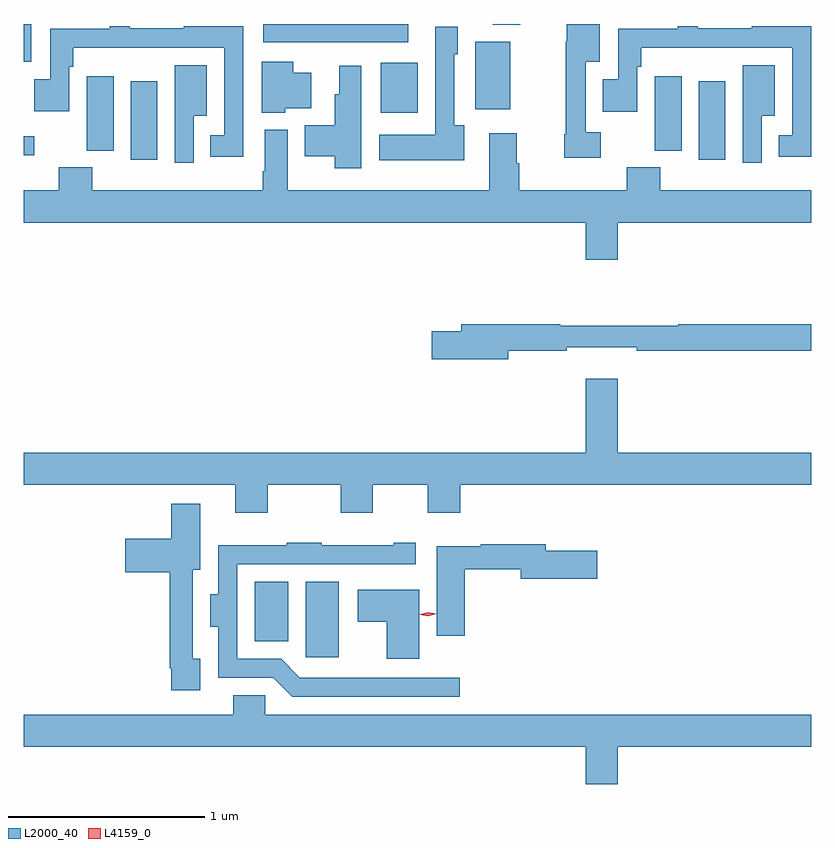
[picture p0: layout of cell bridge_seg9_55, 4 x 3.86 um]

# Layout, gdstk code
import gdstk
lib = gdstk.Library(unit=1e-6, precision=1e-09)
def R(c, l, rs):  # rectangles x0, y0, x1, y1
    for r in rs: c.add(gdstk.rectangle(r[:2], r[2:], *l))
def P(c, l, *ps):  # polygons
    for p in ps: c.add(gdstk.Polygon(p, *l))
L2000_40 = (2000, 40)
L4159_0 = (4159, 0)

bridge_seg9_55 = lib.new_cell('bridge_seg9_55')
R(bridge_seg9_55, L2000_40, [(1098.65,1206.201,1098.817,1206.583), (1098.392,1206.281,1098.562,1206.583), (1097.762,1208.727,1097.896,1209.127), (1100.648,1208.727,1100.782,1209.127), (1097.218,1208.75,1097.272,1208.847), (1097.537,1208.774,1097.674,1209.151), (1100.423,1208.774,1100.56,1209.151), (1099.031,1208.966,1099.219,1209.22), (1099.511,1208.984,1099.69,1209.328), (1097.218,1209.224,1097.257,1209.417), (1098.435,1209.324,1099.171,1209.417), (1099.601,1209.413,1099.741,1209.417)])
P(bridge_seg9_55, L2000_40, [(1100.149,1208.868),(1100.073,1208.868),(1100.073,1209.224),(1100.143,1209.224),(1100.143,1209.417),(1099.976,1209.417),(1099.976,1209.328),(1099.972,1209.328),(1099.972,1208.856),(1099.964,1208.856),(1099.964,1208.738),(1100.149,1208.738)],
  [(1101.218,1209.406),(1100.916,1209.406),(1100.916,1209.395),(1100.641,1209.395),(1100.641,1209.406),(1100.541,1209.406),(1100.541,1209.394),(1100.238,1209.394),(1100.238,1209.136),(1100.158,1209.136),(1100.158,1208.972),(1100.334,1208.972),(1100.334,1209.2),(1100.354,1209.2),(1100.354,1209.296),(1100.774,1209.296),(1100.774,1209.297),(1101.123,1209.297),(1101.123,1208.851),(1101.052,1208.851),(1101.052,1208.742),(1101.218,1208.742)],
  [(1098.333,1209.406),(1098.03,1209.406),(1098.03,1209.395),(1097.755,1209.395),(1097.755,1209.406),(1097.655,1209.406),(1097.655,1209.394),(1097.352,1209.394),(1097.352,1209.136),(1097.272,1209.136),(1097.272,1208.973),(1097.448,1208.973),(1097.448,1209.2),(1097.468,1209.2),(1097.468,1209.296),(1097.888,1209.296),(1097.888,1209.297),(1098.237,1209.297),(1098.237,1208.851),(1098.166,1208.851),(1098.166,1208.742),(1098.333,1208.742)],
  [(1099.456,1208.902),(1099.404,1208.902),(1099.404,1209.264),(1099.423,1209.264),(1099.423,1209.404),(1099.308,1209.404),(1099.308,1208.854),(1099.023,1208.854),(1099.023,1208.726),(1099.456,1208.726)],
  [(1098.546,1208.99),(1098.679,1208.99),(1098.679,1209.169),(1098.586,1209.169),(1098.586,1209.226),(1098.428,1209.226),(1098.428,1208.966),(1098.546,1208.966)],
  [(1098.081,1208.951),(1098.148,1208.951),(1098.148,1209.208),(1097.985,1209.208),(1097.985,1208.712),(1098.081,1208.712)],
  [(1100.967,1208.951),(1101.034,1208.951),(1101.034,1209.208),(1100.871,1209.208),(1100.871,1208.712),(1100.967,1208.712)],
  [(1098.931,1209.205),(1098.821,1209.205),(1098.821,1209.06),(1098.797,1209.06),(1098.797,1208.902),(1098.644,1208.902),(1098.644,1208.744),(1098.797,1208.744),(1098.797,1208.684),(1098.931,1208.684)],
  [(1100.236,1208.408),(1101.218,1208.408),(1101.218,1208.572),(1100.452,1208.572),(1100.452,1208.689),(1100.282,1208.689),(1100.282,1208.572),(1099.736,1208.572),(1099.736,1208.709),(1099.723,1208.709),(1099.723,1208.863),(1099.583,1208.863),(1099.583,1208.572),(1098.559,1208.572),(1098.559,1208.881),(1098.443,1208.881),(1098.443,1208.668),(1098.431,1208.668),(1098.431,1208.572),(1097.566,1208.572),(1097.566,1208.689),(1097.396,1208.689),(1097.396,1208.572),(1097.218,1208.572),(1097.218,1208.408),(1100.072,1208.408),(1100.072,1208.22),(1100.236,1208.22)],
  [(1099.678,1207.756),(1099.976,1207.756),(1099.976,1207.775),(1100.332,1207.775),(1100.332,1207.756),(1101.218,1207.756),(1101.218,1207.892),(1100.543,1207.892),(1100.543,1207.885),(1099.943,1207.885),(1099.943,1207.892),(1099.439,1207.892),(1099.439,1207.856),(1099.29,1207.856),(1099.29,1207.714),(1099.678,1207.714)],
  [(1098.457,1207.076),(1098.827,1207.076),(1098.827,1206.933),(1098.991,1206.933),(1098.991,1207.076),(1099.271,1207.076),(1099.271,1206.933),(1099.435,1206.933),(1099.435,1207.076),(1101.218,1207.076),(1101.218,1207.24),(1100.236,1207.24),(1100.236,1207.615),(1100.072,1207.615),(1100.072,1207.24),(1097.218,1207.24),(1097.218,1207.076),(1098.293,1207.076),(1098.293,1206.933),(1098.457,1206.933)],
  [(1098.115,1206.193),(1098.075,1206.193),(1098.075,1206.644),(1098.115,1206.644),(1098.115,1206.979),(1097.966,1206.979),(1097.966,1206.802),(1097.733,1206.802),(1097.733,1206.632),(1097.959,1206.632),(1097.959,1206.145),(1097.967,1206.145),(1097.967,1206.033),(1098.115,1206.033)],
  [(1099.432,1206.096),(1098.621,1206.096),(1098.525,1206.192),(1098.303,1206.192),(1098.303,1206.672),(1099.21,1206.672),(1099.21,1206.781),(1099.097,1206.781),(1099.097,1206.769),(1098.731,1206.769),(1098.731,1206.781),(1098.553,1206.781),(1098.553,1206.769),(1098.207,1206.769),(1098.207,1206.52),(1098.164,1206.52),(1098.164,1206.356),(1098.206,1206.356),(1098.206,1206.096),(1098.486,1206.096),(1098.582,1206),(1099.432,1206)],
  [(1099.457,1206.646),(1099.742,1206.646),(1099.742,1206.599),(1100.131,1206.599),(1100.131,1206.741),(1099.87,1206.741),(1099.87,1206.775),(1099.54,1206.775),(1099.54,1206.763),(1099.316,1206.763),(1099.316,1206.309),(1099.457,1206.309)],
  [(1099.228,1206.544),(1098.915,1206.544),(1098.915,1206.38),(1099.061,1206.38),(1099.061,1206.192),(1099.228,1206.192)],
  [(1100.236,1205.744),(1101.218,1205.744),(1101.218,1205.908),(1098.444,1205.908),(1098.444,1206.006),(1098.281,1206.006),(1098.281,1205.908),(1097.218,1205.908),(1097.218,1205.744),(1100.072,1205.744),(1100.072,1205.556),(1100.236,1205.556)])
P(bridge_seg9_55, L4159_0, [(1099.273,1206.409),(1099.232,1206.417),(1099.232,1206.417),(1099.232,1206.418),(1099.272,1206.429),(1099.314,1206.42),(1099.314,1206.42),(1099.314,1206.42)])

lib.write_gds('bridge_seg9_55.gds')
